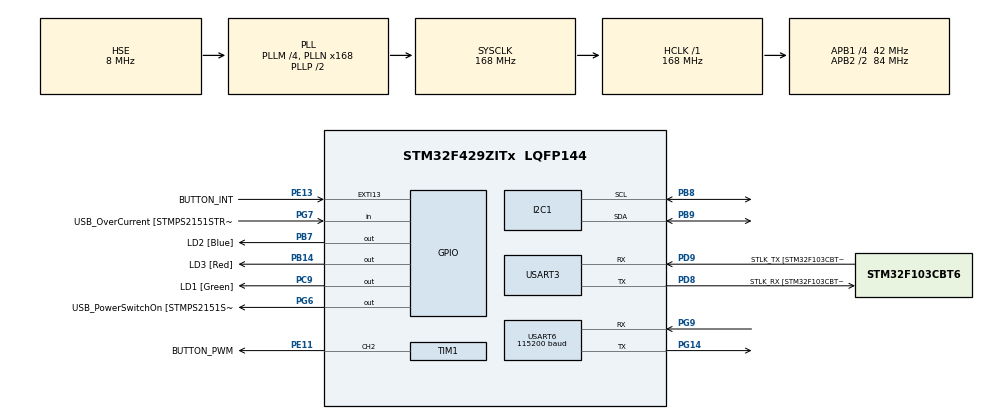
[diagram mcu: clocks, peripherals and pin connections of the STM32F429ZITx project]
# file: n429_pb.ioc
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Mcu.Family=STM32F4
Mcu.Name=STM32F429ZITx
Mcu.Package=LQFP144
NVIC.EXTI15_10_IRQn=true\:3\:0\:true\:false\:true\:true\:true
NVIC.PriorityGroup=NVIC_PRIORITYGROUP_4
NVIC.TIM1_TRG_COM_TIM11_IRQn=true\:0\:0\:false\:false\:true\:true\:true
NVIC.USART3_IRQn=true\:0\:0\:false\:false\:true\:true\:true
NVIC.USART6_IRQn=true\:0\:0\:false\:false\:true\:true\:true
PA1.GPIO_Label=RMII_REF_CLK [LAN8742A-CZ-TR_REFCLK0]
PA1.Signal=ETH_REF_CLK
PA10.GPIO_Label=USB_ID
PA10.Signal=USB_OTG_FS_ID
PA11.GPIO_Label=USB_DM
PA11.Signal=USB_OTG_FS_DM
PA12.GPIO_Label=USB_DP
PA12.Signal=USB_OTG_FS_DP
PA13.GPIO_Label=TMS
PA13.Mode=Serial_Wire
PA13.Signal=SYS_JTMS-SWDIO
PA14.GPIO_Label=TCK
PA14.Mode=Serial_Wire
PA14.Signal=SYS_JTCK-SWCLK
PA2.GPIO_Label=RMII_MDIO [LAN8742A-CZ-TR_MDIO]
PA2.Signal=ETH_MDIO
PA7.GPIO_Label=RMII_CRS_DV [LAN8742A-CZ-TR_CRS_DV]
PA7.Signal=ETH_CRS_DV
PA8.GPIO_Label=USB_SOF [TP1]
PA8.Signal=USB_OTG_FS_SOF
PA9.GPIO_Label=USB_VBUS
PA9.Signal=USB_OTG_FS_VBUS
PB13.GPIO_Label=RMII_TXD1 [LAN8742A-CZ-TR_TXD1]
PB13.Signal=ETH_TXD1
PB14.GPIO_Label=LD3 [Red]
PB14.Signal=GPIO_Output
PB7.GPIO_Label=LD2 [Blue]
PB7.Signal=GPIO_Output
PB8.Mode=I2C
PB8.Signal=I2C1_SCL
PB9.Mode=I2C
PB9.Signal=I2C1_SDA
PC1.GPIO_Label=RMII_MDC [LAN8742A-CZ-TR_MDC]
PC1.Signal=ETH_MDC
PC14/OSC32_IN.Mode=LSE-External-Oscillator
PC14/OSC32_IN.Signal=RCC_OSC32_IN
PC15/OSC32_OUT.Mode=LSE-External-Oscillator
PC15/OSC32_OUT.Signal=RCC_OSC32_OUT
PC4.GPIO_Label=RMII_RXD0 [LAN8742A-CZ-TR_RXD0]
PC4.Signal=ETH_RXD0
PC5.GPIO_Label=RMII_RXD1 [LAN8742A-CZ-TR_RXD1]
PC5.Signal=ETH_RXD1
PC9.GPIO_Label=LD1 [Green]
PC9.Signal=GPIO_Output
PD8.GPIO_Label=STLK_RX [STM32F103CBT6_PA3]
PD8.Mode=Asynchronous
PD8.Signal=USART3_TX
PD9.GPIO_Label=STLK_TX [STM32F103CBT6_PA2]
PD9.Mode=Asynchronous
PD9.Signal=USART3_RX
PE11.GPIO_Label=BUTTON_PWM
PE11.Signal=S_TIM1_CH2
PE13.GPIO_Label=BUTTON_INT
PE13.Signal=GPXTI13
PG11.GPIO_Label=RMII_TX_EN [LAN8742A-CZ-TR_TXEN]
PG11.Signal=ETH_TX_EN
PG13.GPIO_Label=RMII_TXD0 [LAN8742A-CZ-TR_TXD0]
PG13.Signal=ETH_TXD0
PG14.Mode=Asynchronous
PG14.Signal=USART6_TX
PG6.GPIO_Label=USB_PowerSwitchOn [STMPS2151STR_EN]
PG6.Signal=GPIO_Output
PG7.GPIO_Label=USB_OverCurrent [STMPS2151STR_FAULT]
PG7.Signal=GPIO_Input
PG9.Mode=Asynchronous
PG9.Signal=USART6_RX
PH0/OSC_IN.GPIO_Label=MCO [STM32F103CBT6_PA8]
PH0/OSC_IN.Mode=HSE-External-Clock-Source
PH0/OSC_IN.Signal=RCC_OSC_IN
PH1/OSC_OUT.Mode=HSE-External-Clock-Source
PH1/OSC_OUT.Signal=RCC_OSC_OUT
ProjectManager.HeapSize=0x200
ProjectManager.StackSize=0x400
ProjectManager.TargetToolchain=STM32CubeIDE
RCC.48MHZClocksFreq_Value=48000000
RCC.AHBFreq_Value=168000000
RCC.APB1CLKDivider=RCC_HCLK_DIV4
RCC.APB1Freq_Value=42000000
RCC.APB1TimFreq_Value=84000000
RCC.APB2CLKDivider=RCC_HCLK_DIV2
RCC.APB2Freq_Value=84000000
RCC.APB2TimCLKDivider=2
RCC.APB2TimFreq_Value=168000000
RCC.CortexFreq_Value=168000000
RCC.HCLKFreq_Value=168000000
RCC.HSE_VALUE=8000000
RCC.HSI_VALUE=16000000
RCC.PLLM=4
RCC.PLLMUL=RCC_PLL_MUL9
RCC.PLLN=168
RCC.PLLQ=7
RCC.PLLSourceVirtual=RCC_PLLSOURCE_HSE
RCC.PRESCALERUSB=RCC_USBCLKSOURCE_PLL_DIV1_5
RCC.SYSCLKFreq_VALUE=168000000
RCC.SYSCLKSource=RCC_SYSCLKSOURCE_PLLCLK
RCC.SYSCLKSourceVirtual=RCC_SYSCLKSOURCE_PLLCLK
RCC.USBFreq_Value=48000000
RCC.VCOOutputFreq_Value=336000000
SH.S_TIM1_CH2.0=TIM1_CH2,PWM Generation2 CH2
TIM1.Channel-PWM\ Generation2\ CH2=TIM_CHANNEL_2
USART3.VirtualMode=VM_ASYNC
USART6.BaudRate=115200
USART6.VirtualMode=VM_ASYNC
VP_TIM1_VS_ClockSourceINT.Mode=Internal
board=NUCLEO-F429ZI

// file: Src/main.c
/* USER CODE BEGIN Header */
/**
  ******************************************************************************
  * @file           : main.c
  * @brief          : Main program body
  ******************************************************************************
  * @attention
  *
  * <h2><center>&copy; Copyright (c) 2019 STMicroelectronics.
  * All rights reserved.</center></h2>
  *
  * This software component is licensed by ST under BSD 3-Clause license,
  * the "License"; You may not use this file except in compliance with the
  * License. You may obtain a copy of the License at:
  *                        opensource.org/licenses/BSD-3-Clause
  *
  ******************************************************************************
  */
/* USER CODE END Header */

#include "main.h"

/* USER CODE BEGIN Includes */
#include <stdio.h>
#include <stdbool.h>
#include <string.h>

#include "debug.h"
#include "ftmq.h"
#include "addresses.h"

/* USER CODE END Includes */

I2C_HandleTypeDef hi2c1;

TIM_HandleTypeDef htim1;

UART_HandleTypeDef huart3;
UART_HandleTypeDef huart6;

/* USER CODE BEGIN PV */

bool buttonPressed = false;

/* USER CODE END PV */

void SystemClock_Config(void);
static void MX_GPIO_Init(void);
static void MX_I2C1_Init(void);
static void MX_USART3_UART_Init(void);
static void MX_TIM1_Init(void);
static void MX_USART6_UART_Init(void);

/* USER CODE BEGIN 0 */

void HAL_UART_RxCpltCallback(UART_HandleTypeDef *UartHandle){

    if(UartHandle->Instance == UART_FT_INSTANCE)
    {
    	protoFtmqCheck();
    }
}

extern void buttonPressedCallback(){  // Triggered from stm32f4xx_it.c
	buttonPressed = true;
}

/**
 * Sends a PWM order(period + pulse) to the embedded led.
 */
void ClickButtonLed_setPWM(uint16_t period, uint16_t pulse) {

	HAL_TIM_PWM_Stop(&htim1, TIM_CHANNEL_2); // stop generation of pwm
	if (pulse > 0) {
		TIM_OC_InitTypeDef sConfigOC;
		htim1.Init.Period = period; // set the period duration
		HAL_TIM_PWM_Init(&htim1); // reinitialize with new period value
		sConfigOC.OCMode = TIM_OCMODE_PWM1;
		sConfigOC.Pulse = pulse; // set the pulse duration
		sConfigOC.OCPolarity = TIM_OCPOLARITY_HIGH;
		sConfigOC.OCFastMode = TIM_OCFAST_DISABLE;
		HAL_TIM_PWM_ConfigChannel(&htim1, &sConfigOC, TIM_CHANNEL_2);
		HAL_TIM_PWM_Start(&htim1, TIM_CHANNEL_2); // start pwm generation
	}
}

/* USER CODE END 0 */

int main(void)
{

  /* MCU Configuration--------------------------------------------------------*/

  /* Reset of all peripherals, Initializes the Flash interface and the Systick. */
  HAL_Init();

  /* Configure the system clock */
  SystemClock_Config();

  /* Initialize all configured peripherals */
  MX_GPIO_Init();
  MX_I2C1_Init();
  MX_USART3_UART_Init();
  MX_TIM1_Init();
  MX_USART6_UART_Init();

  /* Infinite loop */
  /* USER CODE BEGIN WHILE */
  int blickCounter = 0;
  bool ledStatus = false;
  bool onDuty = false;

  protoFtmqSetup();
  SERIAL_DEBUG("Beginning\n\r");

  while (1)
  {
	if (buttonPressed) {  // set via interrupt by buttonPressedCallback()
		SERIAL_DEBUG("Button pressed\r\n");
		protoFtmqsend(FTMESSAGE_ADDRESS_BUTTON, 1);
		HAL_Delay(100); // Debounce
		buttonPressed = false;
		onDuty = true;
	}

	if (!onDuty) {
		if (blickCounter == 0) {
			if (ledStatus)
			  ClickButtonLed_setPWM(0, 0);
			else
			  ClickButtonLed_setPWM(500, 50);
			ledStatus = !ledStatus;
			blickCounter = 100;
		}
		blickCounter--;
	}
	else{
		if (ledStatus){
		  ClickButtonLed_setPWM(0, 0);
		  ledStatus = false;
		}
	}

	HAL_Delay(10);
    /* USER CODE END WHILE */

  }
}

void SystemClock_Config(void)
{
  RCC_OscInitTypeDef RCC_OscInitStruct = {0};
  RCC_ClkInitTypeDef RCC_ClkInitStruct = {0};

  /** Configure the main internal regulator output voltage
  */
  __HAL_RCC_PWR_CLK_ENABLE();
  __HAL_PWR_VOLTAGESCALING_CONFIG(PWR_REGULATOR_VOLTAGE_SCALE1);
  /** Initializes the CPU, AHB and APB busses clocks
  */
  RCC_OscInitStruct.OscillatorType = RCC_OSCILLATORTYPE_HSE;
  RCC_OscInitStruct.HSEState = RCC_HSE_BYPASS;
  RCC_OscInitStruct.PLL.PLLState = RCC_PLL_ON;
  RCC_OscInitStruct.PLL.PLLSource = RCC_PLLSOURCE_HSE;
  RCC_OscInitStruct.PLL.PLLM = 4;
  RCC_OscInitStruct.PLL.PLLN = 168;
  RCC_OscInitStruct.PLL.PLLP = RCC_PLLP_DIV2;
  RCC_OscInitStruct.PLL.PLLQ = 7;
  if (HAL_RCC_OscConfig(&RCC_OscInitStruct) != HAL_OK)
  {
    Error_Handler();
  }
  /** Initializes the CPU, AHB and APB busses clocks
  */
  RCC_ClkInitStruct.ClockType = RCC_CLOCKTYPE_HCLK|RCC_CLOCKTYPE_SYSCLK
                              |RCC_CLOCKTYPE_PCLK1|RCC_CLOCKTYPE_PCLK2;
  RCC_ClkInitStruct.SYSCLKSource = RCC_SYSCLKSOURCE_PLLCLK;
  RCC_ClkInitStruct.AHBCLKDivider = RCC_SYSCLK_DIV1;
  RCC_ClkInitStruct.APB1CLKDivider = RCC_HCLK_DIV4;
  RCC_ClkInitStruct.APB2CLKDivider = RCC_HCLK_DIV2;

  if (HAL_RCC_ClockConfig(&RCC_ClkInitStruct, FLASH_LATENCY_5) != HAL_OK)
  {
    Error_Handler();
  }
}

static void MX_I2C1_Init(void)
{

  hi2c1.Instance = I2C1;
  hi2c1.Init.ClockSpeed = 100000;
  hi2c1.Init.DutyCycle = I2C_DUTYCYCLE_2;
  hi2c1.Init.OwnAddress1 = 0;
  hi2c1.Init.AddressingMode = I2C_ADDRESSINGMODE_7BIT;
  hi2c1.Init.DualAddressMode = I2C_DUALADDRESS_DISABLE;
  hi2c1.Init.OwnAddress2 = 0;
  hi2c1.Init.GeneralCallMode = I2C_GENERALCALL_DISABLE;
  hi2c1.Init.NoStretchMode = I2C_NOSTRETCH_DISABLE;
  if (HAL_I2C_Init(&hi2c1) != HAL_OK)
  {
    Error_Handler();
  }
  /** Configure Analogue filter
  */
  if (HAL_I2CEx_ConfigAnalogFilter(&hi2c1, I2C_ANALOGFILTER_ENABLE) != HAL_OK)
  {
    Error_Handler();
  }
  /** Configure Digital filter
  */
  if (HAL_I2CEx_ConfigDigitalFilter(&hi2c1, 0) != HAL_OK)
  {
    Error_Handler();
  }

}

static void MX_TIM1_Init(void)
{

  TIM_ClockConfigTypeDef sClockSourceConfig = {0};
  TIM_MasterConfigTypeDef sMasterConfig = {0};
  TIM_OC_InitTypeDef sConfigOC = {0};
  TIM_BreakDeadTimeConfigTypeDef sBreakDeadTimeConfig = {0};

  htim1.Instance = TIM1;
  htim1.Init.Prescaler = 0;
  htim1.Init.CounterMode = TIM_COUNTERMODE_UP;
  htim1.Init.Period = 0;
  htim1.Init.ClockDivision = TIM_CLOCKDIVISION_DIV1;
  htim1.Init.RepetitionCounter = 0;
  htim1.Init.AutoReloadPreload = TIM_AUTORELOAD_PRELOAD_DISABLE;
  if (HAL_TIM_Base_Init(&htim1) != HAL_OK)
  {
    Error_Handler();
  }
  sClockSourceConfig.ClockSource = TIM_CLOCKSOURCE_INTERNAL;
  if (HAL_TIM_ConfigClockSource(&htim1, &sClockSourceConfig) != HAL_OK)
  {
    Error_Handler();
  }
  if (HAL_TIM_PWM_Init(&htim1) != HAL_OK)
  {
    Error_Handler();
  }
  sMasterConfig.MasterOutputTrigger = TIM_TRGO_RESET;
  sMasterConfig.MasterSlaveMode = TIM_MASTERSLAVEMODE_DISABLE;
  if (HAL_TIMEx_MasterConfigSynchronization(&htim1, &sMasterConfig) != HAL_OK)
  {
    Error_Handler();
  }
  sConfigOC.OCMode = TIM_OCMODE_PWM1;
  sConfigOC.Pulse = 0;
  sConfigOC.OCPolarity = TIM_OCPOLARITY_HIGH;
  sConfigOC.OCNPolarity = TIM_OCNPOLARITY_HIGH;
  sConfigOC.OCFastMode = TIM_OCFAST_DISABLE;
  sConfigOC.OCIdleState = TIM_OCIDLESTATE_RESET;
  sConfigOC.OCNIdleState = TIM_OCNIDLESTATE_RESET;
  if (HAL_TIM_PWM_ConfigChannel(&htim1, &sConfigOC, TIM_CHANNEL_2) != HAL_OK)
  {
    Error_Handler();
  }
  sBreakDeadTimeConfig.OffStateRunMode = TIM_OSSR_DISABLE;
  sBreakDeadTimeConfig.OffStateIDLEMode = TIM_OSSI_DISABLE;
  sBreakDeadTimeConfig.LockLevel = TIM_LOCKLEVEL_OFF;
  sBreakDeadTimeConfig.DeadTime = 0;
  sBreakDeadTimeConfig.BreakState = TIM_BREAK_DISABLE;
  sBreakDeadTimeConfig.BreakPolarity = TIM_BREAKPOLARITY_HIGH;
  sBreakDeadTimeConfig.AutomaticOutput = TIM_AUTOMATICOUTPUT_DISABLE;
  if (HAL_TIMEx_ConfigBreakDeadTime(&htim1, &sBreakDeadTimeConfig) != HAL_OK)
  {
    Error_Handler();
  }
  HAL_TIM_MspPostInit(&htim1);

}

static void MX_USART3_UART_Init(void)
{

  huart3.Instance = USART3;
  huart3.Init.BaudRate = 115200;
  huart3.Init.WordLength = UART_WORDLENGTH_8B;
  huart3.Init.StopBits = UART_STOPBITS_1;
  huart3.Init.Parity = UART_PARITY_NONE;
  huart3.Init.Mode = UART_MODE_TX_RX;
  huart3.Init.HwFlowCtl = UART_HWCONTROL_NONE;
  huart3.Init.OverSampling = UART_OVERSAMPLING_16;
  if (HAL_UART_Init(&huart3) != HAL_OK)
  {
    Error_Handler();
  }

}

static void MX_USART6_UART_Init(void)
{

  huart6.Instance = USART6;
  huart6.Init.BaudRate = 115200;
  huart6.Init.WordLength = UART_WORDLENGTH_8B;
  huart6.Init.StopBits = UART_STOPBITS_1;
  huart6.Init.Parity = UART_PARITY_NONE;
  huart6.Init.Mode = UART_MODE_TX_RX;
  huart6.Init.HwFlowCtl = UART_HWCONTROL_NONE;
  huart6.Init.OverSampling = UART_OVERSAMPLING_16;
  if (HAL_UART_Init(&huart6) != HAL_OK)
  {
    Error_Handler();
  }

}

static void MX_GPIO_Init(void)
{
  GPIO_InitTypeDef GPIO_InitStruct = {0};

  /* GPIO Ports Clock Enable */
  __HAL_RCC_GPIOC_CLK_ENABLE();
  __HAL_RCC_GPIOH_CLK_ENABLE();
  __HAL_RCC_GPIOA_CLK_ENABLE();
  __HAL_RCC_GPIOE_CLK_ENABLE();
  __HAL_RCC_GPIOB_CLK_ENABLE();
  __HAL_RCC_GPIOD_CLK_ENABLE();
  __HAL_RCC_GPIOG_CLK_ENABLE();

  /*Configure GPIO pin Output Level */
  HAL_GPIO_WritePin(GPIOB, LD3_Pin|LD2_Pin, GPIO_PIN_RESET);

  /*Configure GPIO pin Output Level */
  HAL_GPIO_WritePin(USB_PowerSwitchOn_GPIO_Port, USB_PowerSwitchOn_Pin, GPIO_PIN_RESET);

  /*Configure GPIO pin Output Level */
  HAL_GPIO_WritePin(LD1_GPIO_Port, LD1_Pin, GPIO_PIN_RESET);

  /*Configure GPIO pins : RMII_MDC_Pin RMII_RXD0_Pin RMII_RXD1_Pin */
  GPIO_InitStruct.Pin = RMII_MDC_Pin|RMII_RXD0_Pin|RMII_RXD1_Pin;
  GPIO_InitStruct.Mode = GPIO_MODE_AF_PP;
  GPIO_InitStruct.Pull = GPIO_NOPULL;
  GPIO_InitStruct.Speed = GPIO_SPEED_FREQ_VERY_HIGH;
  GPIO_InitStruct.Alternate = GPIO_AF11_ETH;
  HAL_GPIO_Init(GPIOC, &GPIO_InitStruct);

  /*Configure GPIO pins : RMII_REF_CLK_Pin RMII_MDIO_Pin RMII_CRS_DV_Pin */
  GPIO_InitStruct.Pin = RMII_REF_CLK_Pin|RMII_MDIO_Pin|RMII_CRS_DV_Pin;
  GPIO_InitStruct.Mode = GPIO_MODE_AF_PP;
  GPIO_InitStruct.Pull = GPIO_NOPULL;
  GPIO_InitStruct.Speed = GPIO_SPEED_FREQ_VERY_HIGH;
  GPIO_InitStruct.Alternate = GPIO_AF11_ETH;
  HAL_GPIO_Init(GPIOA, &GPIO_InitStruct);

  /*Configure GPIO pin : BUTTON_INT_Pin */
  GPIO_InitStruct.Pin = BUTTON_INT_Pin;
  GPIO_InitStruct.Mode = GPIO_MODE_IT_RISING;
  GPIO_InitStruct.Pull = GPIO_NOPULL;
  HAL_GPIO_Init(BUTTON_INT_GPIO_Port, &GPIO_InitStruct);

  /*Configure GPIO pin : RMII_TXD1_Pin */
  GPIO_InitStruct.Pin = RMII_TXD1_Pin;
  GPIO_InitStruct.Mode = GPIO_MODE_AF_PP;
  GPIO_InitStruct.Pull = GPIO_NOPULL;
  GPIO_InitStruct.Speed = GPIO_SPEED_FREQ_VERY_HIGH;
  GPIO_InitStruct.Alternate = GPIO_AF11_ETH;
  HAL_GPIO_Init(RMII_TXD1_GPIO_Port, &GPIO_InitStruct);

  /*Configure GPIO pins : LD3_Pin LD2_Pin */
  GPIO_InitStruct.Pin = LD3_Pin|LD2_Pin;
  GPIO_InitStruct.Mode = GPIO_MODE_OUTPUT_PP;
  GPIO_InitStruct.Pull = GPIO_NOPULL;
  GPIO_InitStruct.Speed = GPIO_SPEED_FREQ_LOW;
  HAL_GPIO_Init(GPIOB, &GPIO_InitStruct);

  /*Configure GPIO pin : USB_PowerSwitchOn_Pin */
  GPIO_InitStruct.Pin = USB_PowerSwitchOn_Pin;
  GPIO_InitStruct.Mode = GPIO_MODE_OUTPUT_PP;
  GPIO_InitStruct.Pull = GPIO_NOPULL;
  GPIO_InitStruct.Speed = GPIO_SPEED_FREQ_LOW;
  HAL_GPIO_Init(USB_PowerSwitchOn_GPIO_Port, &GPIO_InitStruct);

  /*Configure GPIO pin : USB_OverCurrent_Pin */
  GPIO_InitStruct.Pin = USB_OverCurrent_Pin;
  GPIO_InitStruct.Mode = GPIO_MODE_INPUT;
  GPIO_InitStruct.Pull = GPIO_NOPULL;
  HAL_GPIO_Init(USB_OverCurrent_GPIO_Port, &GPIO_InitStruct);

  /*Configure GPIO pin : LD1_Pin */
  GPIO_InitStruct.Pin = LD1_Pin;
  GPIO_InitStruct.Mode = GPIO_MODE_OUTPUT_PP;
  GPIO_InitStruct.Pull = GPIO_NOPULL;
  GPIO_InitStruct.Speed = GPIO_SPEED_FREQ_LOW;
  HAL_GPIO_Init(LD1_GPIO_Port, &GPIO_InitStruct);

  /*Configure GPIO pins : USB_SOF_Pin USB_ID_Pin USB_DM_Pin USB_DP_Pin */
  GPIO_InitStruct.Pin = USB_SOF_Pin|USB_ID_Pin|USB_DM_Pin|USB_DP_Pin;
  GPIO_InitStruct.Mode = GPIO_MODE_AF_PP;
  GPIO_InitStruct.Pull = GPIO_NOPULL;
  GPIO_InitStruct.Speed = GPIO_SPEED_FREQ_VERY_HIGH;
  GPIO_InitStruct.Alternate = GPIO_AF10_OTG_FS;
  HAL_GPIO_Init(GPIOA, &GPIO_InitStruct);

  /*Configure GPIO pin : USB_VBUS_Pin */
  GPIO_InitStruct.Pin = USB_VBUS_Pin;
  GPIO_InitStruct.Mode = GPIO_MODE_INPUT;
  GPIO_InitStruct.Pull = GPIO_NOPULL;
  HAL_GPIO_Init(USB_VBUS_GPIO_Port, &GPIO_InitStruct);

  /*Configure GPIO pins : RMII_TX_EN_Pin RMII_TXD0_Pin */
  GPIO_InitStruct.Pin = RMII_TX_EN_Pin|RMII_TXD0_Pin;
  GPIO_InitStruct.Mode = GPIO_MODE_AF_PP;
  GPIO_InitStruct.Pull = GPIO_NOPULL;
  GPIO_InitStruct.Speed = GPIO_SPEED_FREQ_VERY_HIGH;
  GPIO_InitStruct.Alternate = GPIO_AF11_ETH;
  HAL_GPIO_Init(GPIOG, &GPIO_InitStruct);

  /* EXTI interrupt init*/
  HAL_NVIC_SetPriority(EXTI15_10_IRQn, 3, 0);
  HAL_NVIC_EnableIRQ(EXTI15_10_IRQn);

}

void Error_Handler(void)
{
}

/************************ (C) COPYRIGHT STMicroelectronics *****END OF FILE****/
